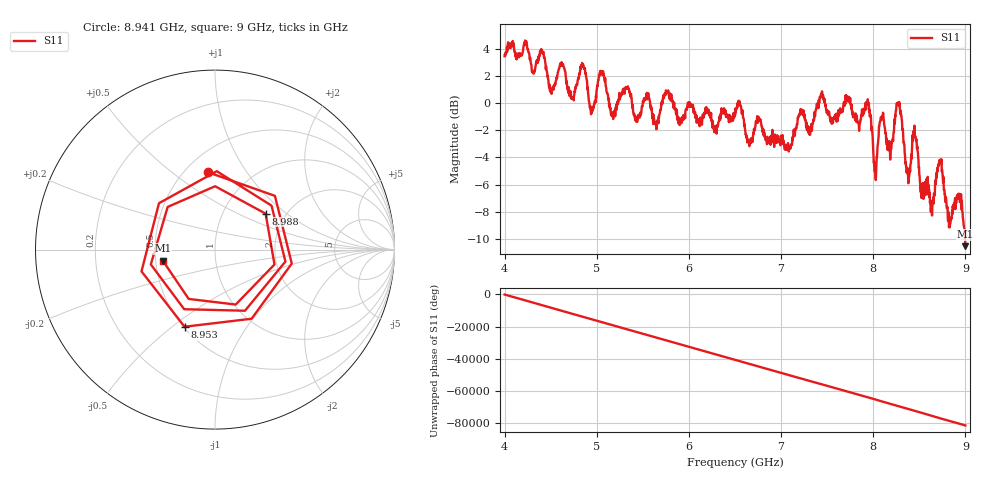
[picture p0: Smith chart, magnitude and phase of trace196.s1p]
! Created with skrf 1.8.0 (http://scikit-rf.org).
# Hz S RI R 50.0
!freq ReS11 ImS11
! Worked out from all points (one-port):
!   1601 points, 4 GHz to 9 GHz, reference 50 ohm
!   lowest |S11| = -10.5 dB at 9 GHz (marker M1), VSWR 1.85, Z = 27.3 - j3.65 ohm
!   |S11| at or under -10 dB: 8.996082 GHz to end of sweep
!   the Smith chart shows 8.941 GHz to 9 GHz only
!   S11 on the Smith chart (normalised r, x): 8.941 GHz: 0.65, +0.68; 8.953 GHz: 0.51, -0.55; 8.988 GHz: 1.58, +0.72; 9 GHz: 0.55, -0.07
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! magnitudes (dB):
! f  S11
! 4 GHz  3.4
! 4.409 GHz  3.8
! 4.509 GHz  0.7
! 4.625 GHz  2.9
! 4.731 GHz  0.3
! 4.856 GHz  2.8
! 4.944 GHz  -0.7
! 5.05 GHz  2.3
! 5.25 GHz  0.3
! 5.875 GHz  -1.2
! 6.5 GHz  -0.9
! 7.125 GHz  -2.8
! 7.75 GHz  0.4
! 7.95 GHz  0.0
! 8.025 GHz  -5.5
! 8.088 GHz  -1.2
! 8.178 GHz  -3.2
! 8.275 GHz  0.0
! 8.375 GHz  -5.2
! 8.447 GHz  -1.7
! 8.531 GHz  -6.7
! 8.641 GHz  -7.6
! 8.719 GHz  -4.5
! 8.825 GHz  -8.9
! 8.941 GHz  -7.3
! 8.953 GHz  -6.7
! 8.988 GHz  -9.2
! 9 GHz  -10.5
